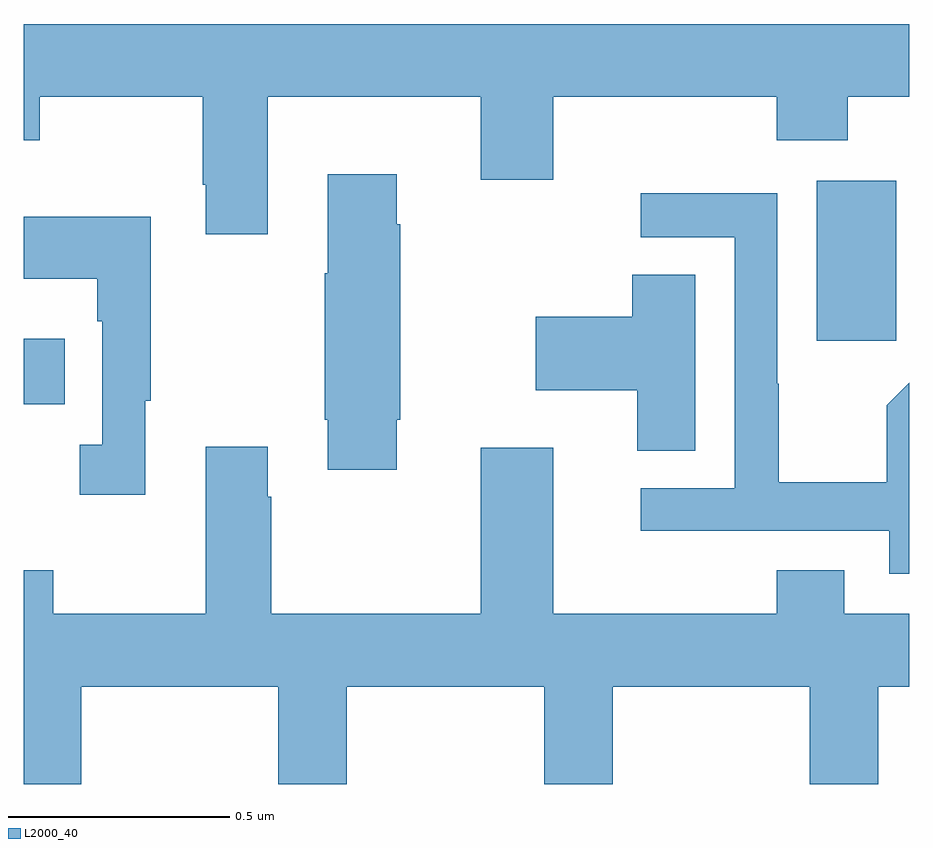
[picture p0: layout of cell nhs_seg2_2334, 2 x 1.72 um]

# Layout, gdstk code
import gdstk
lib = gdstk.Library(unit=1e-6, precision=1e-09)
def R(c, l, rs):  # rectangles x0, y0, x1, y1
    for r in rs: c.add(gdstk.rectangle(r[:2], r[2:], *l))
def P(c, l, *ps):  # polygons
    for p in ps: c.add(gdstk.Polygon(p, *l))
L2000_40 = (2000, 40)

nhs_seg2_2334 = lib.new_cell('nhs_seg2_2334')
R(nhs_seg2_2334, L2000_40, [(140,597.658,140.093,597.805), (141.791,597.801,141.97,598.162)])
P(nhs_seg2_2334, L2000_40, [(140.551,598.352),(141.032,598.352),(141.032,598.164),(141.196,598.164),(141.196,598.352),(141.701,598.352),(141.701,598.253),(141.861,598.253),(141.861,598.352),(142,598.352),(142,598.516),(140,598.516),(140,598.253),(140.037,598.253),(140.037,598.352),(140.404,598.352),(140.404,598.153),(140.411,598.153),(140.411,598.041),(140.551,598.041)],
  [(140.842,597.622),(140.85,597.622),(140.85,598.064),(140.842,598.064),(140.842,598.177),(140.687,598.177),(140.687,597.953),(140.68,597.953),(140.68,597.622),(140.687,597.622),(140.687,597.51),(140.842,597.51)],
  [(142,597.706),(141.949,597.655),(141.949,597.481),(141.705,597.481),(141.705,597.704),(141.702,597.704),(141.702,598.134),(141.393,598.134),(141.393,598.035),(141.606,598.035),(141.606,597.468),(141.393,597.468),(141.393,597.372),(141.954,597.372),(141.954,597.275),(142,597.275)],
  [(140.275,597.665),(140.287,597.665),(140.287,598.081),(140,598.081),(140,597.941),(140.166,597.941),(140.166,597.845),(140.178,597.845),(140.178,597.566),(140.127,597.566),(140.127,597.453),(140.275,597.453)],
  [(141.517,597.95),(141.374,597.95),(141.374,597.855),(141.156,597.855),(141.156,597.689),(141.386,597.689),(141.386,597.553),(141.517,597.553)],
  [(141.853,597.283),(141.701,597.283),(141.701,597.184),(141.196,597.184),(141.196,597.559),(141.032,597.559),(141.032,597.184),(140.559,597.184),(140.559,597.449),(140.551,597.449),(140.551,597.562),(140.411,597.562),(140.411,597.184),(140.067,597.184),(140.067,597.283),(140,597.283),(140,596.8),(140.13,596.8),(140.13,597.02),(140.575,597.02),(140.575,596.8),(140.73,596.8),(140.73,597.02),(141.175,597.02),(141.175,596.8),(141.33,596.8),(141.33,597.02),(141.775,597.02),(141.775,596.8),(141.93,596.8),(141.93,597.02),(142,597.02),(142,597.184),(141.853,597.184)])

lib.write_gds('nhs_seg2_2334.gds')
